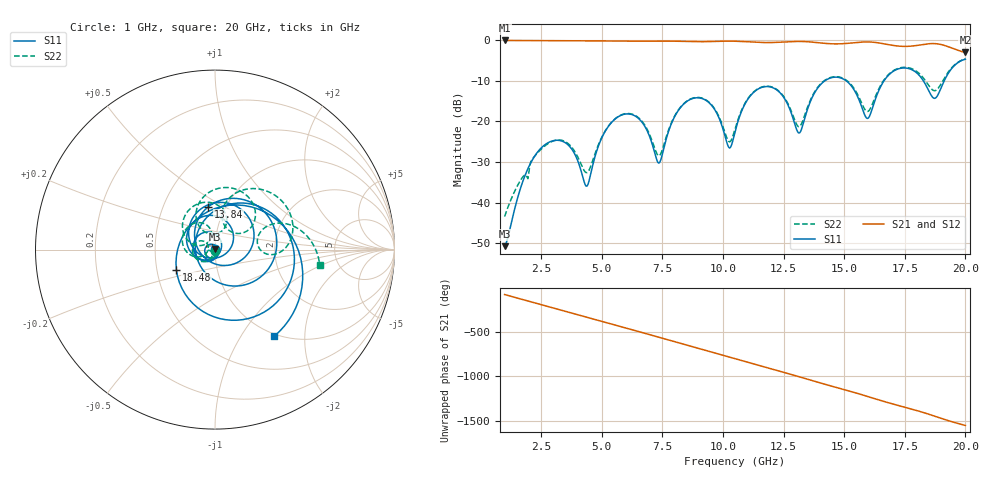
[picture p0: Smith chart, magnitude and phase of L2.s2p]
! Touchstone file from project TestMultiLine
! Exported from HFSS 14.0.0
! Variables:
!  gap = 14.38mm
!  hair = 35mm
!  hsub = 0.762mm
!  l = 42.38mm
!  lair = 50mm
!  lmic = 14mm
!  w = 25mm
!  wair = 40mm
!  wmic = 2.1mm
!  wp = 1mm
!Data is not renormalized
# GHZ S MA
! Modal data exported
! Port[1] = 1:1
! Port[2] = 2:1
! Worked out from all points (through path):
!   476 points, 1 GHz to 20 GHz, reference per port
!   highest |S21| = -0.04 dB at 1 GHz (marker M1); lowest = -3.0 dB at 20 GHz (marker M2)
!   group delay of S21, straight-line fit = 216 ps
!   lowest |S11| = -50.7 dB at 1 GHz (marker M3), VSWR 1.01
!   |S11| at or under -10 dB: start of sweep to 14.2 GHz; 15.09 GHz to 16.64 GHz (1.554 GHz wide, 9.8 % of centre); 18.27 GHz to 19.13 GHz (858.1 MHz wide, 4.59 % of centre)
!   |S22| runs from -43.4 to -4.6 dB; largest |S21 - S12| = 1e-09
!   S11 on the Smith chart (normalised r, x): 1 GHz: 1.00, +0.01; 13.84 GHz: 0.83, +0.42; 18.48 GHz: 0.63, -0.15; 20 GHz: 0.97, -1.42
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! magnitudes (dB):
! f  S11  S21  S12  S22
! 1 GHz  -50.7  0.0  0.0  -43.4
! 1.84 GHz  -33.3  -0.1  -0.1  -33.2
! 2.56 GHz  -26.2  -0.1  -0.1  -26.5
! 3.52 GHz  -25.3  -0.1  -0.1  -25.0
! 4.2 GHz  -33.2  -0.1  -0.1  -31.1
! 4.4 GHz  -35.9  -0.1  -0.1  -32.6
! 5.96 GHz  -18.2  -0.2  -0.2  -18.1
! 7.36 GHz  -30.3  -0.2  -0.2  -28.5
! 8.68 GHz  -14.5  -0.3  -0.3  -14.4
! 9.56 GHz  -16.2  -0.3  -0.3  -16.1
! 10.24 GHz  -26.4  -0.2  -0.2  -24.9
! 10.52 GHz  -22.2  -0.2  -0.2  -21.5
! 11.56 GHz  -11.7  -0.5  -0.5  -11.6
! 12.4 GHz  -13.2  -0.5  -0.5  -13.1
! 13.12 GHz  -22.8  -0.3  -0.3  -21.3
! 13.68 GHz  -14.1  -0.4  -0.4  -13.8
! 13.84 GHz  -12.4  -0.5  -0.5  -12.2
! 14.96 GHz  -9.5  -0.8  -0.8  -9.4
! 15.96 GHz  -19.3  -0.4  -0.4  -17.6
! 16.84 GHz  -8.5  -1.1  -1.1  -8.4
! 18.48 GHz  -12.3  -0.9  -0.9  -11.1
! 20 GHz  -4.7  -3.0  -3.0  -4.6
